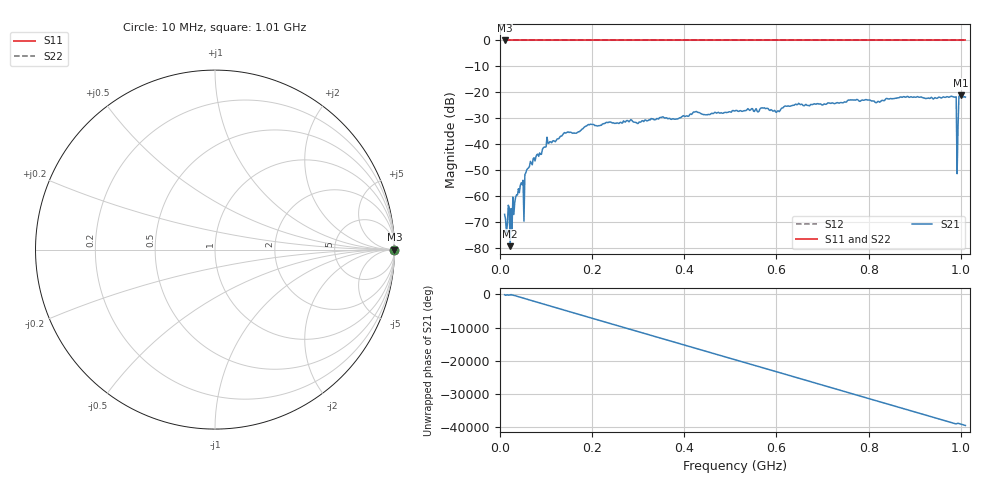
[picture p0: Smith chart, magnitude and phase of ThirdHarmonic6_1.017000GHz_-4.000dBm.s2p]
! 8/16/2025 8:27:49 AM
! C:\ANRITSUVNA\TEMP\TEMP.S2P
! CHANNEL.1
! TR.MEASUREMENT
! RAW.DATA
! RF.CORRECTION.OFF
! AVERAGING.OFF
! IF.BANDWIDTH: 5KHZ
! SWEEPTYPE:  FREQ.SWEEP(Linear)
! Reference Plane Port Info
! PORT:  PORT1  PORT2
! DISTANCE:  0  m  0  m
! TIME:  0  s  0  s
! PHASE.OFFSET:  0  deg.  0  deg.
! LOSS:  0  dB  0  dB
! REF.LOSS:  0  dB  0  dB
! REF.FREQ:  0  Hz  0  Hz
! Power Info
! POWER:  -20  dBm  -20  dBm
! EFF.POWER:  -20  dBm  -20  dBm
! SOURCE.ATTEN:  0  dB  0  dB
! TEST.ATTEN:  0  dB  0  dB
# GHZ S RI R 50.0
! FREQ.GHZ  S11RE  S11IM  S21RE  S21IM  S12RE  S12IM  S22RE  S22IM
!; PortSelection: Port_12
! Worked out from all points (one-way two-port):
!   501 points, 10 MHz to 1.01 GHz, reference 50 ohm
!   highest |S21| = -21.18 dB at 1 GHz (marker M1); lowest = -79.5 dB at 22 MHz (marker M2)
!   lowest |S11| = 0.0 dB at 10 MHz (marker M3)
!   |S11| at or under -10 dB: nowhere
!   |S22| runs from 0.0 to 0.0 dB; largest |S21 - S12| = 1.1
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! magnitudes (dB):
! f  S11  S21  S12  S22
! 10 MHz  0.0  -67.2  0.0  0.0
! 22 MHz  0.0  -79.5  0.0  0.0
! 26 MHz  0.0  -72.9  0.0  0.0
! 36 MHz  0.0  -59.6  0.0  0.0
! 46 MHz  0.0  -55.0  0.0  0.0
! 48 MHz  0.0  -55.7  0.0  0.0
! 56 MHz  0.0  -51.1  0.0  0.0
! 58 MHz  0.0  -50.0  0.0  0.0
! 70 MHz  0.0  -48.0  0.0  0.0
! 106 MHz  0.0  -39.7  0.0  0.0
! 178 MHz  0.0  -34.2  0.0  0.0
! 344 MHz  0.0  -30.4  0.0  0.0
! 510 MHz  0.0  -27.2  0.0  0.0
! 678 MHz  0.0  -24.8  0.0  0.0
! 844 MHz  0.0  -22.6  0.0  0.0
! 986 MHz  0.0  -21.9  0.0  0.0
! 988 MHz  0.0  -21.9  0.0  0.0
! 990 MHz  0.0  -21.8  0.0  0.0
! 996 MHz  0.0  -21.6  0.0  0.0
! 998 MHz  0.0  -21.3  0.0  0.0
! 1 GHz  0.0  -21.2  0.0  0.0
! 1.01 GHz  0.0  -21.9  0.0  0.0
